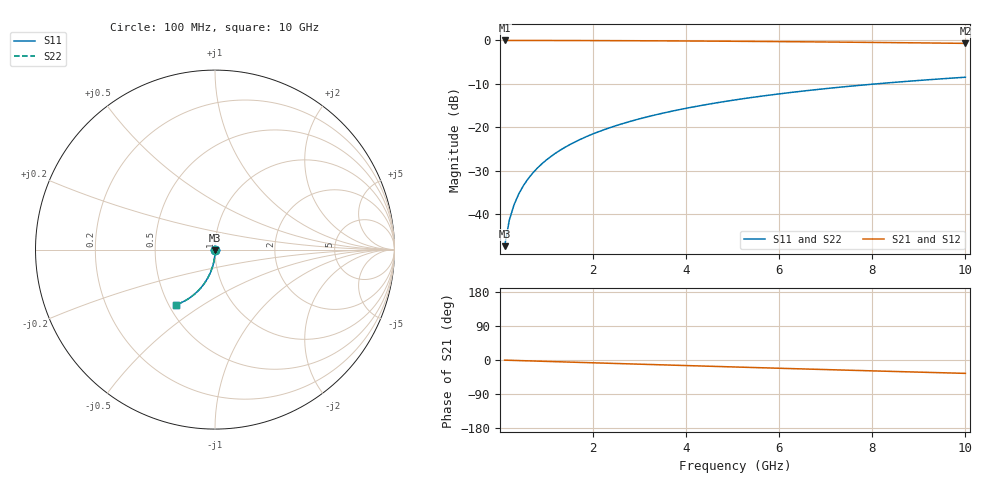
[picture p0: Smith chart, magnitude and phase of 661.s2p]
# Hz S RI R 50.00
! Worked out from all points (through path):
!   100 points, 100 MHz to 10 GHz, reference 50 ohm
!   highest |S21| = -0.01 dB at 100 MHz (marker M1); lowest = -0.7 dB at 10 GHz (marker M2)
!   group delay of S21, straight-line fit = 9.83 ps
!   lowest |S11| = -47.5 dB at 100 MHz (marker M3), VSWR 1.01, Z = 50.1 - j0.421 ohm
!   |S11| at or under -10 dB: start of sweep to 8.103 GHz
!   |S22| runs from -47.5 to -8.5 dB; largest |S21 - S12| = 0
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1e8  0.000567 -0.0042  0.9994 -0.00644  0.9994 -0.00644  0.000567 -0.0042
2e8  0.000485 -0.00841  0.9993 -0.0129  0.9993 -0.0129  0.000485 -0.00841
3e8  0.000347 -0.0126  0.9991 -0.0193  0.9991 -0.0193  0.000347 -0.0126
4e8  0.000155 -0.0168  0.9989 -0.0258  0.9989 -0.0258  0.000155 -0.0168
5e8  -9.16e-05 -0.021  0.9986 -0.0322  0.9986 -0.0322  -9.16e-05 -0.021
6e8  -0.000392 -0.0252  0.9983 -0.0386  0.9983 -0.0386  -0.000392 -0.0252
7e8  -0.000747 -0.0294  0.9979 -0.0451  0.9979 -0.0451  -0.000747 -0.0294
8e8  -0.00116 -0.0336  0.9974 -0.0515  0.9974 -0.0515  -0.00116 -0.0336
9e8  -0.00162 -0.0377  0.9969 -0.0579  0.9969 -0.0579  -0.00162 -0.0377
1.1e9  -0.0027 -0.0461  0.9957 -0.0707  0.9957 -0.0707  -0.0027 -0.0461
1.4e9  -0.00473 -0.0585  0.9935 -0.0898  0.9935 -0.0898  -0.00473 -0.0585
1.8e9  -0.00818 -0.0749  0.9898 -0.1152  0.9898 -0.1152  -0.00818 -0.0749
2.1e9  -0.0113 -0.087  0.9863 -0.1341  0.9863 -0.1341  -0.0113 -0.087
2.5e9  -0.0162 -0.103  0.981 -0.159  0.981 -0.159  -0.0162 -0.103
2.9e9  -0.0219 -0.1187  0.9747 -0.1837  0.9747 -0.1837  -0.0219 -0.1187
3.4e9  -0.03 -0.1377  0.9658 -0.214  0.9658 -0.214  -0.03 -0.1377
4.2e9  -0.0455 -0.1668  0.9488 -0.2611  0.9488 -0.2611  -0.0455 -0.1668
5.1e9  -0.066 -0.1972  0.9261 -0.3119  0.9261 -0.3119  -0.066 -0.1972
5.9e9  -0.0867 -0.2219  0.9031 -0.3546  0.9031 -0.3546  -0.0867 -0.2219
6.7e9  -0.1095 -0.2441  0.8777 -0.395  0.8777 -0.395  -0.1095 -0.2441
8.4e9  -0.1629 -0.2825  0.8175 -0.4724  0.8175 -0.4724  -0.1629 -0.2825
1e10  -0.2172 -0.3074  0.7553 -0.5343  0.7553 -0.5343  -0.2172 -0.3074
